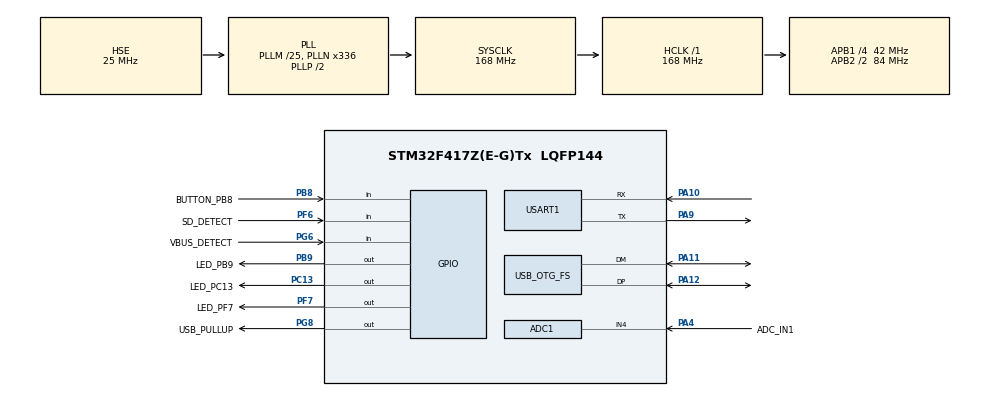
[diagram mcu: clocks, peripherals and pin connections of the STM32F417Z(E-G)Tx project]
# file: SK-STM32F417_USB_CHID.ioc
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ADC1.Channel-2\#ChannelRegularConversion=ADC_CHANNEL_4
ADC1.ClockPrescaler=ADC_CLOCK_SYNC_PCLK_DIV8
ADC1.ContinuousConvMode=ENABLE
ADC1.NbrOfConversionFlag=1
ADC1.Rank-2\#ChannelRegularConversion=1
ADC1.SamplingTime-2\#ChannelRegularConversion=ADC_SAMPLETIME_3CYCLES
ADC1.master=1
Mcu.Family=STM32F4
Mcu.Name=STM32F417Z(E-G)Tx
Mcu.Package=LQFP144
NVIC.OTG_FS_IRQn=true\:0\:0\:false\:false\:true\:false\:true
NVIC.PriorityGroup=NVIC_PRIORITYGROUP_4
PA10.Mode=Asynchronous
PA10.Signal=USART1_RX
PA11.Mode=Device_Only
PA11.Signal=USB_OTG_FS_DM
PA12.Mode=Device_Only
PA12.Signal=USB_OTG_FS_DP
PA4.GPIO_Label=ADC_IN1
PA4.Signal=ADCx_IN4
PA9.Mode=Asynchronous
PA9.Signal=USART1_TX
PB8.GPIO_Label=BUTTON_PB8
PB8.GPIO_PuPd=GPIO_PULLUP
PB8.Signal=GPIO_Input
PB9.GPIO_Label=LED_PB9
PB9.Signal=GPIO_Output
PC13-ANTI_TAMP.GPIO_Label=LED_PC13
PC13-ANTI_TAMP.Signal=GPIO_Output
PC14-OSC32_IN.Mode=LSE-External-Oscillator
PC14-OSC32_IN.Signal=RCC_OSC32_IN
PC15-OSC32_OUT.Mode=LSE-External-Oscillator
PC15-OSC32_OUT.Signal=RCC_OSC32_OUT
PF6.GPIO_Label=SD_DETECT
PF6.GPIO_PuPd=GPIO_PULLUP
PF6.Signal=GPIO_Input
PF7.GPIO_Label=LED_PF7
PF7.Signal=GPIO_Output
PG6.GPIO_Label=VBUS_DETECT
PG6.GPIO_PuPd=GPIO_PULLDOWN
PG6.Signal=GPIO_Input
PG8.GPIO_Label=USB_PULLUP
PG8.Signal=GPIO_Output
PH0-OSC_IN.Mode=HSE-External-Oscillator
PH0-OSC_IN.Signal=RCC_OSC_IN
PH1-OSC_OUT.Mode=HSE-External-Oscillator
PH1-OSC_OUT.Signal=RCC_OSC_OUT
ProjectManager.HeapSize=0x200
ProjectManager.StackSize=0x400
ProjectManager.TargetToolchain=MDK-ARM V5
RCC.48MHZClocksFreq_Value=48000000
RCC.AHBFreq_Value=168000000
RCC.APB1CLKDivider=RCC_HCLK_DIV4
RCC.APB1Freq_Value=42000000
RCC.APB1TimFreq_Value=84000000
RCC.APB2CLKDivider=RCC_HCLK_DIV2
RCC.APB2Freq_Value=84000000
RCC.APB2TimFreq_Value=168000000
RCC.CortexFreq_Value=168000000
RCC.HCLKFreq_Value=168000000
RCC.HSE_VALUE=25000000
RCC.HSI_VALUE=16000000
RCC.PLLM=25
RCC.PLLN=336
RCC.PLLQ=7
RCC.RCC_RTC_Clock_Source=RCC_RTCCLKSOURCE_LSE
RCC.RCC_RTC_Clock_SourceVirtual=RCC_RTCCLKSOURCE_LSE
RCC.SYSCLKFreq_VALUE=168000000
RCC.SYSCLKSource=RCC_SYSCLKSOURCE_PLLCLK
RCC.VCOOutputFreq_Value=336000000
RTC.Year=20
SH.ADCx_IN4.0=ADC1_IN4,IN4
USART1.VirtualMode=VM_ASYNC
USB_DEVICE.CLASS_NAME_FS=CUSTOM_HID
USB_DEVICE.USBD_CUSTOM_HID_REPORT_DESC_SIZE-CUSTOM_HID_FS=100
USB_DEVICE.VirtualMode-CUSTOM_HID_FS=CustomHid
USB_DEVICE.VirtualModeFS=Custom_Hid_FS
USB_OTG_FS.VirtualMode=Device_Only
VP_RTC_VS_RTC_Activate.Mode=RTC_Enabled
VP_RTC_VS_RTC_Calendar.Mode=RTC_Calendar
VP_USB_DEVICE_VS_USB_DEVICE_CUSTOM_HID_FS.Mode=CUSTOM_HID_FS
board=SK-STM32F417_USB_VCP

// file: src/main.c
/* USER CODE BEGIN Header */
/**
  ******************************************************************************
  * @file           : main.c
  * @brief          : Main program body
  ******************************************************************************
  * @attention
  *
  * <h2><center>&copy; Copyright (c) 2020 STMicroelectronics.
  * All rights reserved.</center></h2>
  *
  * This software component is licensed by ST under Ultimate Liberty license
  * SLA0044, the "License"; You may not use this file except in compliance with
  * the License. You may obtain a copy of the License at:
  *                             www.st.com/SLA0044
  *
  ******************************************************************************
  */

//#warning "Check usbd_customhid.h for CUSTOM_HID_EPIN_SIZE & CUSTOM_HID_EPOUT_SIZE"
//#warning "Should be 0x40 for both"

/* USER CODE END Header */

#include "main.h"
#include "usb_device.h"

/* USER CODE BEGIN Includes */
#include "uart.h"
#include "usbd_custom_hid_if.h"
#include "usbd_customhid.h"

extern USBD_HandleTypeDef hUsbDeviceFS;

/* USER CODE END Includes */

ADC_HandleTypeDef hadc1;

RTC_HandleTypeDef hrtc;

UART_HandleTypeDef huart1;

/* USER CODE BEGIN PV */
/* Private variables ---------------------------------------------------------*/
  uint8_t USB_TX_Buffer[ARRAY2HOST+1];
  uint8_t USB_RX_Buffer[ARRAY2ST+1];
  FlagStatus USBDataInReady = RESET;
  FlagStatus USBDataOutReady = RESET;

  uint32_t adcResult = 0;
/* USER CODE END PV */

void SystemClock_Config(void);
static void MX_GPIO_Init(void);
static void MX_RTC_Init(void);
static void MX_USART1_UART_Init(void);
static void MX_ADC1_Init(void);
/* USER CODE BEGIN PFP */
/* Private function prototypes -----------------------------------------------*/

/* USER CODE END PFP */

int main(void)
{

  /* MCU Configuration--------------------------------------------------------*/

  /* Reset of all peripherals, Initializes the Flash interface and the Systick. */
  HAL_Init();

  /* Configure the system clock */
  SystemClock_Config();

  /* Initialize all configured peripherals */
  MX_GPIO_Init();
  MX_RTC_Init();
  MX_USART1_UART_Init();
  MX_USB_DEVICE_Init();
  MX_ADC1_Init();
  /* USER CODE BEGIN 2 */
  uart_Init1();

  uart_SendStrr("\rProgram start\r");
  uart_BufStrr("Core Clk ");
  uart_BufDec(SystemCoreClock);
  uart_BufStrr(" Hz\r");

	HAL_GPIO_WritePin(USB_PULLUP_GPIO_Port, USB_PULLUP_Pin, GPIO_PIN_SET);

  HAL_ADC_Start(&hadc1);

  /* USER CODE END 2 */

  /* Infinite loop */
  /* USER CODE BEGIN WHILE */
  uint8_t command = 0;
	unsigned short int cnt = 0;
  uint8_t User_button_cnt = 0;
  uint8_t User_button_state = 0;
  while (1)
  {
    uart_Send();

    if(uart_ReceiveByte(&command)){
	    uart_BufByte(' ');
	    uart_BufByte(command);
    }
    cnt++;

    if(HAL_OK == HAL_ADC_PollForConversion(&hadc1, 2)){
		  adcResult = HAL_ADC_GetValue(&hadc1);
      HAL_ADC_Start(&hadc1);
		}

		if(cnt&1){ //Передача в хост репорта с состоянием кнопками
		  USB_TX_Buffer[0] = 0x04;
      USB_TX_Buffer[1] = User_button_state&1;
      USB_TX_Buffer[2] = HAL_GPIO_ReadPin(SD_DETECT_GPIO_Port, SD_DETECT_Pin);;
      USB_TX_Buffer[3] = 78;
      USB_TX_Buffer[4] = 22;
      USB_TX_Buffer[5] = 0;
      USB_TX_Buffer[6] = 0;
	    USB_TX_Buffer[7] = 0x1;
	    USB_TX_Buffer[8] = 0x2;
		  USBD_CUSTOM_HID_SendReport(&hUsbDeviceFS,USB_TX_Buffer,ARRAY2HOST+1); // To send usb buffer to PC
		}
		else
		{ //Передача в хост репорта со значением АЦП
		  USB_TX_Buffer[0] = 0x05;
      USB_TX_Buffer[1] = adcResult>>4;
		  USBD_CUSTOM_HID_SendReport(&hUsbDeviceFS,USB_TX_Buffer,2); // To send usb buffer to PC
		}

    //Прием от хоста
	  if(USBDataInReady == SET){
      FlagStatus LED_Status;
			uart_SendStrr("USB_RX_Buffer: ");
			uart_SendHex(USB_RX_Buffer[0]);
			uart_SendHex(USB_RX_Buffer[1]);
			uart_SendByte('\r');
		  if(USB_RX_Buffer[1])
			  LED_Status = SET;
		  else
			  LED_Status = RESET;

		  switch(USB_RX_Buffer[0] & 0x3)
		  {
		  case 1: if(LED_Status == SET)
			  	  	  HAL_GPIO_WritePin(LED_PF7_GPIO_Port, LED_PF7_Pin, GPIO_PIN_SET);
		  	  	  else
		  	  		  HAL_GPIO_WritePin(LED_PF7_GPIO_Port, LED_PF7_Pin, GPIO_PIN_RESET);
  	  	  	  	  break;
		  case 2: if(LED_Status == SET)
			  	  	  HAL_GPIO_WritePin(LED_PB9_GPIO_Port, LED_PB9_Pin, GPIO_PIN_SET);
		  	  	  else
		  	  		  HAL_GPIO_WritePin(LED_PB9_GPIO_Port, LED_PB9_Pin, GPIO_PIN_RESET);
  	  	  	  	  break;
		  case 3: if(USB_RX_Buffer[1]>25)
			  	  	  HAL_GPIO_WritePin(LED_PC13_GPIO_Port, LED_PC13_Pin, GPIO_PIN_SET);
		  	  	  else
		  	  		  HAL_GPIO_WritePin(LED_PC13_GPIO_Port, LED_PC13_Pin, GPIO_PIN_RESET);
  	  	  	  	  break;
		  default: break;
		  }

		  USBDataInReady = RESET;
	  }

		if(HAL_GPIO_ReadPin(BUTTON_PB8_GPIO_Port, BUTTON_PB8_Pin)==0){     //если кнопка нажата
		  //HAL_GPIO_WritePin(LED_PC13_GPIO_Port, LED_PC13_Pin, GPIO_PIN_SET);
			if(User_button_cnt<255){
				User_button_cnt++;
			  if(User_button_cnt==255){
					if(User_button_state==0){
            uart_SendStrr("Button pressed\r");
						uart_SendStrr("adcResult= ");
						uart_SendDec(adcResult);
						uart_SendByte('\r');
						User_button_state = 1;
					}
			  }
		  }
    }else{
		  //HAL_GPIO_WritePin(LED_PC13_GPIO_Port, LED_PC13_Pin, GPIO_PIN_RESET);
			if(User_button_cnt>0){
				User_button_cnt--;
			  if(User_button_cnt==0){
 				  if(User_button_state==1){
            uart_SendStrr("Button reliased\r");
						User_button_state = 0;
					}
			  }
		  }
    }
    /* USER CODE END WHILE */

  }
}

void SystemClock_Config(void)
{
  RCC_OscInitTypeDef RCC_OscInitStruct = {0};
  RCC_ClkInitTypeDef RCC_ClkInitStruct = {0};
  RCC_PeriphCLKInitTypeDef PeriphClkInitStruct = {0};

  /** Configure the main internal regulator output voltage
  */
  __HAL_RCC_PWR_CLK_ENABLE();
  __HAL_PWR_VOLTAGESCALING_CONFIG(PWR_REGULATOR_VOLTAGE_SCALE1);
  /** Initializes the CPU, AHB and APB busses clocks
  */
  RCC_OscInitStruct.OscillatorType = RCC_OSCILLATORTYPE_HSE|RCC_OSCILLATORTYPE_LSE;
  RCC_OscInitStruct.HSEState = RCC_HSE_ON;
  RCC_OscInitStruct.LSEState = RCC_LSE_ON;
  RCC_OscInitStruct.PLL.PLLState = RCC_PLL_ON;
  RCC_OscInitStruct.PLL.PLLSource = RCC_PLLSOURCE_HSE;
  RCC_OscInitStruct.PLL.PLLM = 25;
  RCC_OscInitStruct.PLL.PLLN = 336;
  RCC_OscInitStruct.PLL.PLLP = RCC_PLLP_DIV2;
  RCC_OscInitStruct.PLL.PLLQ = 7;
  if (HAL_RCC_OscConfig(&RCC_OscInitStruct) != HAL_OK)
  {
    Error_Handler();
  }
  /** Initializes the CPU, AHB and APB busses clocks
  */
  RCC_ClkInitStruct.ClockType = RCC_CLOCKTYPE_HCLK|RCC_CLOCKTYPE_SYSCLK
                              |RCC_CLOCKTYPE_PCLK1|RCC_CLOCKTYPE_PCLK2;
  RCC_ClkInitStruct.SYSCLKSource = RCC_SYSCLKSOURCE_PLLCLK;
  RCC_ClkInitStruct.AHBCLKDivider = RCC_SYSCLK_DIV1;
  RCC_ClkInitStruct.APB1CLKDivider = RCC_HCLK_DIV4;
  RCC_ClkInitStruct.APB2CLKDivider = RCC_HCLK_DIV2;

  if (HAL_RCC_ClockConfig(&RCC_ClkInitStruct, FLASH_LATENCY_5) != HAL_OK)
  {
    Error_Handler();
  }
  PeriphClkInitStruct.PeriphClockSelection = RCC_PERIPHCLK_RTC;
  PeriphClkInitStruct.RTCClockSelection = RCC_RTCCLKSOURCE_LSE;
  if (HAL_RCCEx_PeriphCLKConfig(&PeriphClkInitStruct) != HAL_OK)
  {
    Error_Handler();
  }
}

static void MX_ADC1_Init(void)
{

  ADC_ChannelConfTypeDef sConfig = {0};

  /** Configure the global features of the ADC (Clock, Resolution, Data Alignment and number of conversion)
  */
  hadc1.Instance = ADC1;
  hadc1.Init.ClockPrescaler = ADC_CLOCK_SYNC_PCLK_DIV8;
  hadc1.Init.Resolution = ADC_RESOLUTION_12B;
  hadc1.Init.ScanConvMode = DISABLE;
  hadc1.Init.ContinuousConvMode = ENABLE;
  hadc1.Init.DiscontinuousConvMode = DISABLE;
  hadc1.Init.ExternalTrigConvEdge = ADC_EXTERNALTRIGCONVEDGE_NONE;
  hadc1.Init.ExternalTrigConv = ADC_SOFTWARE_START;
  hadc1.Init.DataAlign = ADC_DATAALIGN_RIGHT;
  hadc1.Init.NbrOfConversion = 1;
  hadc1.Init.DMAContinuousRequests = DISABLE;
  hadc1.Init.EOCSelection = ADC_EOC_SINGLE_CONV;
  if (HAL_ADC_Init(&hadc1) != HAL_OK)
  {
    Error_Handler();
  }
  /** Configure for the selected ADC regular channel its corresponding rank in the sequencer and its sample time.
  */
  sConfig.Channel = ADC_CHANNEL_4;
  sConfig.Rank = 1;
  sConfig.SamplingTime = ADC_SAMPLETIME_3CYCLES;
  if (HAL_ADC_ConfigChannel(&hadc1, &sConfig) != HAL_OK)
  {
    Error_Handler();
  }

}

static void MX_RTC_Init(void)
{

  RTC_TimeTypeDef sTime = {0};
  RTC_DateTypeDef sDate = {0};

  /** Initialize RTC Only
  */
  hrtc.Instance = RTC;
  hrtc.Init.HourFormat = RTC_HOURFORMAT_24;
  hrtc.Init.AsynchPrediv = 127;
  hrtc.Init.SynchPrediv = 255;
  hrtc.Init.OutPut = RTC_OUTPUT_DISABLE;
  hrtc.Init.OutPutPolarity = RTC_OUTPUT_POLARITY_HIGH;
  hrtc.Init.OutPutType = RTC_OUTPUT_TYPE_OPENDRAIN;
  if (HAL_RTC_Init(&hrtc) != HAL_OK)
  {
    Error_Handler();
  }

  /** Initialize RTC and set the Time and Date
  */
  sTime.Hours = 0x0;
  sTime.Minutes = 0x0;
  sTime.Seconds = 0x0;
  sTime.DayLightSaving = RTC_DAYLIGHTSAVING_NONE;
  sTime.StoreOperation = RTC_STOREOPERATION_RESET;
  if (HAL_RTC_SetTime(&hrtc, &sTime, RTC_FORMAT_BCD) != HAL_OK)
  {
    Error_Handler();
  }
  sDate.WeekDay = RTC_WEEKDAY_MONDAY;
  sDate.Month = RTC_MONTH_JANUARY;
  sDate.Date = 0x1;
  sDate.Year = 0x20;

  if (HAL_RTC_SetDate(&hrtc, &sDate, RTC_FORMAT_BCD) != HAL_OK)
  {
    Error_Handler();
  }

}

static void MX_USART1_UART_Init(void)
{

  huart1.Instance = USART1;
  huart1.Init.BaudRate = 115200;
  huart1.Init.WordLength = UART_WORDLENGTH_8B;
  huart1.Init.StopBits = UART_STOPBITS_1;
  huart1.Init.Parity = UART_PARITY_NONE;
  huart1.Init.Mode = UART_MODE_TX_RX;
  huart1.Init.HwFlowCtl = UART_HWCONTROL_NONE;
  huart1.Init.OverSampling = UART_OVERSAMPLING_16;
  if (HAL_UART_Init(&huart1) != HAL_OK)
  {
    Error_Handler();
  }

}

static void MX_GPIO_Init(void)
{
  GPIO_InitTypeDef GPIO_InitStruct = {0};

  /* GPIO Ports Clock Enable */
  __HAL_RCC_GPIOC_CLK_ENABLE();
  __HAL_RCC_GPIOF_CLK_ENABLE();
  __HAL_RCC_GPIOH_CLK_ENABLE();
  __HAL_RCC_GPIOA_CLK_ENABLE();
  __HAL_RCC_GPIOG_CLK_ENABLE();
  __HAL_RCC_GPIOB_CLK_ENABLE();

  /*Configure GPIO pin Output Level */
  HAL_GPIO_WritePin(LED_PC13_GPIO_Port, LED_PC13_Pin, GPIO_PIN_RESET);

  /*Configure GPIO pin Output Level */
  HAL_GPIO_WritePin(LED_PF7_GPIO_Port, LED_PF7_Pin, GPIO_PIN_RESET);

  /*Configure GPIO pin Output Level */
  HAL_GPIO_WritePin(USB_PULLUP_GPIO_Port, USB_PULLUP_Pin, GPIO_PIN_RESET);

  /*Configure GPIO pin Output Level */
  HAL_GPIO_WritePin(LED_PB9_GPIO_Port, LED_PB9_Pin, GPIO_PIN_RESET);

  /*Configure GPIO pin : LED_PC13_Pin */
  GPIO_InitStruct.Pin = LED_PC13_Pin;
  GPIO_InitStruct.Mode = GPIO_MODE_OUTPUT_PP;
  GPIO_InitStruct.Pull = GPIO_NOPULL;
  GPIO_InitStruct.Speed = GPIO_SPEED_FREQ_LOW;
  HAL_GPIO_Init(LED_PC13_GPIO_Port, &GPIO_InitStruct);

  /*Configure GPIO pin : SD_DETECT_Pin */
  GPIO_InitStruct.Pin = SD_DETECT_Pin;
  GPIO_InitStruct.Mode = GPIO_MODE_INPUT;
  GPIO_InitStruct.Pull = GPIO_PULLUP;
  HAL_GPIO_Init(SD_DETECT_GPIO_Port, &GPIO_InitStruct);

  /*Configure GPIO pin : LED_PF7_Pin */
  GPIO_InitStruct.Pin = LED_PF7_Pin;
  GPIO_InitStruct.Mode = GPIO_MODE_OUTPUT_PP;
  GPIO_InitStruct.Pull = GPIO_NOPULL;
  GPIO_InitStruct.Speed = GPIO_SPEED_FREQ_LOW;
  HAL_GPIO_Init(LED_PF7_GPIO_Port, &GPIO_InitStruct);

  /*Configure GPIO pin : VBUS_DETECT_Pin */
  GPIO_InitStruct.Pin = VBUS_DETECT_Pin;
  GPIO_InitStruct.Mode = GPIO_MODE_INPUT;
  GPIO_InitStruct.Pull = GPIO_PULLDOWN;
  HAL_GPIO_Init(VBUS_DETECT_GPIO_Port, &GPIO_InitStruct);

  /*Configure GPIO pin : USB_PULLUP_Pin */
  GPIO_InitStruct.Pin = USB_PULLUP_Pin;
  GPIO_InitStruct.Mode = GPIO_MODE_OUTPUT_PP;
  GPIO_InitStruct.Pull = GPIO_NOPULL;
  GPIO_InitStruct.Speed = GPIO_SPEED_FREQ_LOW;
  HAL_GPIO_Init(USB_PULLUP_GPIO_Port, &GPIO_InitStruct);

  /*Configure GPIO pin : BUTTON_PB8_Pin */
  GPIO_InitStruct.Pin = BUTTON_PB8_Pin;
  GPIO_InitStruct.Mode = GPIO_MODE_INPUT;
  GPIO_InitStruct.Pull = GPIO_PULLUP;
  HAL_GPIO_Init(BUTTON_PB8_GPIO_Port, &GPIO_InitStruct);

  /*Configure GPIO pin : LED_PB9_Pin */
  GPIO_InitStruct.Pin = LED_PB9_Pin;
  GPIO_InitStruct.Mode = GPIO_MODE_OUTPUT_PP;
  GPIO_InitStruct.Pull = GPIO_NOPULL;
  GPIO_InitStruct.Speed = GPIO_SPEED_FREQ_LOW;
  HAL_GPIO_Init(LED_PB9_GPIO_Port, &GPIO_InitStruct);

}

void Error_Handler(void)
{
  while(1)
  {
  }
}

/************************ (C) COPYRIGHT STMicroelectronics *****END OF FILE****/
